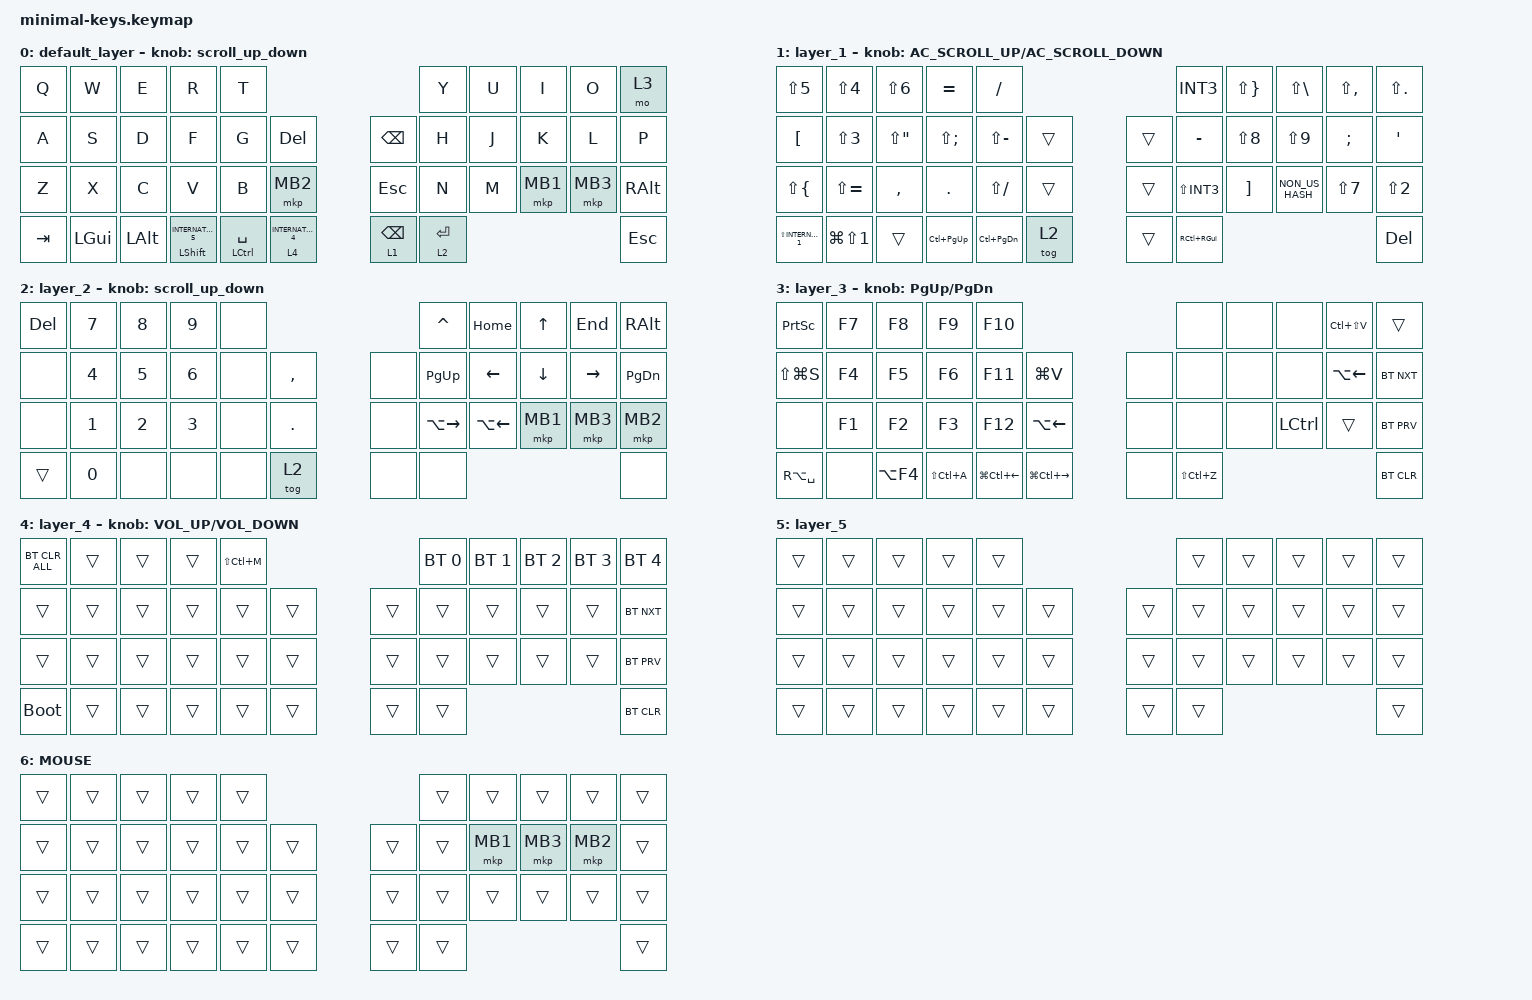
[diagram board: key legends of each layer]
#include <behaviors/runtime-sensor-rotate.dtsi>
#include <dt-bindings/zmk/data-logger.h>
#include <behaviors.dtsi>
#include <dt-bindings/zmk/bt.h>
#include <dt-bindings/zmk/keys.h>
#include <dt-bindings/zmk/pointing.h>

#undef ZMK_POINTING_DEFAULT_SCRL_VAL

#define ZMK_POINTING_DEFAULT_SCRL_VAL 100
#define MOUSE 6

&mt {
    flavor = "balanced";
    quick-tap-ms = <0>;
};

&rsr_trans {
    cw-binding = <&kp C_VOL_UP>;
    ccw-binding = <&kp C_VOL_DN>;
    tap-ms = <5>;
};

/ {
    combos { compatible = "zmk,combos"; };

    macros {
        to_layer_0: to_layer_0 {
            compatible = "zmk,behavior-macro-one-param";
            #binding-cells = <1>;
            bindings = <&to 0 &macro_param_1to1 &kp MACRO_PLACEHOLDER>;
            label = "TO_LAYER_0";
        };

        // Data logger markers: stamp the ring buffer + send F13/F14 so the
        // host-side event logger can record the press timestamp for sync.

        marker_a: marker_a {
            compatible = "zmk,behavior-macro";
            #binding-cells = <0>;
            bindings = <&dlog DLOG_MARKER_A &kp F13>;
            label = "DLOG_MARKER_A";
        };

        marker_b: marker_b {
            compatible = "zmk,behavior-macro";
            #binding-cells = <0>;
            bindings = <&dlog DLOG_MARKER_B &kp F14>;
            label = "DLOG_MARKER_B";
        };
    };

    behaviors {
        lt_rep: lt_rep {
            compatible = "zmk,behavior-hold-tap";
            label = "LAYER_TAP_REPEAT";
            #binding-cells = <2>;
            flavor = "balanced";
            tapping-term-ms = <200>;
            quick-tap-ms = <150>;
            bindings = <&mo>, <&kp>;
        };

        lt_to_layer_0: lt_to_layer_0 {
            compatible = "zmk,behavior-hold-tap";
            label = "LAYER_TAP_TO_0";
            bindings = <&mo>, <&to_layer_0>;

            #binding-cells = <2>;
            tapping-term-ms = <200>;
        };

        scroll_up_down: behavior_sensor_rotate_mouse_wheel_up_down {
            compatible = "zmk,behavior-sensor-rotate";
            #sensor-binding-cells = <0>;
            bindings = <&msc SCRL_UP>, <&msc SCRL_DOWN>;

            tap-ms = <20>;
        };

        scroll: scroll {
            compatible = "zmk,behavior-sensor-rotate";
            label = "SCROLL";
            #sensor-binding-cells = <0>;
            bindings = <&msc SCRL_DOWN>, <&msc SCRL_UP>;
        };
    };

    keymap {
        compatible = "zmk,keymap";

        default_layer {
            bindings = <
&kp Q    &kp W         &kp E         &kp R                           &kp T                                                             &kp Y        &kp U  &kp I     &kp O     &mo 3
&kp A    &kp S         &kp D         &kp F                           &kp G                   &kp DELETE               &kp BACKSPACE    &kp H        &kp J  &kp K     &kp L     &kp P
&kp Z    &kp X         &kp C         &kp V                           &kp B                   &mkp MB2                 &kp ESCAPE       &kp N        &kp M  &mkp MB1  &mkp MB3  &kp RIGHT_ALT
&kp TAB  &kp LEFT_GUI  &kp LEFT_ALT  &mt LEFT_SHIFT INTERNATIONAL_5  &mt LEFT_CONTROL SPACE  &lt 4 INTERNATIONAL_4    &lt 1 BACKSPACE  &lt 2 ENTER                             &kp ESCAPE
            >;

            sensor-bindings = <&scroll_up_down>;
        };

        layer_1 {
            bindings = <
&kp LS(N5)               &kp LS(N4)      &kp LS(N6)             &kp EQUAL          &kp SLASH                            &kp INT3      &kp LS(RIGHT_BRACE)  &kp LS(BACKSLASH)  &kp LS(COMMA)  &kp LS(PERIOD)
&kp LEFT_BRACKET         &kp LS(N3)      &kp LS(DOUBLE_QUOTES)  &kp LS(SEMICOLON)  &kp LS(MINUS)      &trans    &trans  &kp MINUS     &kp LS(N8)           &kp LS(N9)         &kp SEMICOLON  &kp SQT
&kp LS(LEFT_BRACE)       &kp LS(EQUAL)   &kp COMMA              &kp PERIOD         &kp LS(SLASH)      &trans    &trans  &kp LS(INT3)  &kp RIGHT_BRACKET    &kp NON_US_HASH    &kp LS(N7)     &kp LS(N2)
&kp LS(INTERNATIONAL_1)  &kp LG(LS(N1))  &trans                 &kp LC(PAGE_UP)    &kp LC(PAGE_DOWN)  &tog 2    &trans  &kp RC(RGUI)                                                         &kp DELETE
            >;

            sensor-bindings = <&inc_dec_kp C_AC_SCROLL_UP C_AC_SCROLL_DOWN>;
        };

        layer_2 {
            bindings = <
&kp DEL  &kp NUMBER_7  &kp NUMBER_8  &kp NUMBER_9  &none                       &kp CARET            &kp HOME            &kp UP_ARROW    &kp END          &kp RIGHT_ALT
&none    &kp NUMBER_4  &kp N5        &kp NUMBER_6  &none  &kp COMMA     &none  &kp PAGE_UP          &kp LEFT_ARROW      &kp DOWN_ARROW  &kp RIGHT_ARROW  &kp PAGE_DOWN
&none    &kp NUMBER_1  &kp NUMBER_2  &kp NUMBER_3  &none  &kp PERIOD    &none  &kp LA(RIGHT_ARROW)  &kp LA(LEFT_ARROW)  &mkp MB1        &mkp MB3         &mkp MB2
&trans   &kp NUMBER_0  &none         &none         &none  &tog 2        &none  &none                                                                     &none
            >;

            sensor-bindings = <&scroll_up_down>;
        };

        layer_3 {
            bindings = <
&kp PRINTSCREEN  &kp F7  &kp F8      &kp F9         &kp F10                                                   &none          &none  &none             &kp LC(LS(V))       &trans
&kp LS(LG(S))    &kp F4  &kp F5      &kp F6         &kp F11                 &kp LG(V)                  &none  &none          &none  &none             &kp LA(LEFT_ARROW)  &bt BT_NXT
&none            &kp F1  &kp F2      &kp F3         &kp F12                 &kp LA(LEFT_ARROW)         &none  &none          &none  &kp LEFT_CONTROL  &trans              &bt BT_PRV
&kp RA(SPACE)    &none   &kp LA(F4)  &kp LS(LC(A))  &kp LG(LC(LEFT_ARROW))  &kp LG(LC(RIGHT_ARROW))    &none  &kp LS(LC(Z))                                               &bt BT_CLR
            >;

            sensor-bindings = <&inc_dec_kp PAGE_UP PAGE_DOWN>;
        };

        layer_4 {
            bindings = <
&bt BT_CLR_ALL  &trans  &trans  &trans  &kp LS(LC(M))                    &bt BT_SEL 0  &bt BT_SEL 1  &bt BT_SEL 2  &bt BT_SEL 3  &bt BT_SEL 4
&trans          &trans  &trans  &trans  &trans         &trans    &trans  &trans        &trans        &trans        &trans        &bt BT_NXT
&trans          &trans  &trans  &trans  &trans         &trans    &trans  &trans        &trans        &trans        &trans        &bt BT_PRV
&bootloader     &trans  &trans  &trans  &trans         &trans    &trans  &trans                                                  &bt BT_CLR
            >;

            sensor-bindings = <&inc_dec_kp C_VOLUME_UP C_VOLUME_DOWN>;
        };

        layer_5 {
            bindings = <
&trans  &trans  &trans  &trans  &trans                    &trans  &trans  &trans  &trans  &trans
&trans  &trans  &trans  &trans  &trans  &trans    &trans  &trans  &trans  &trans  &trans  &trans
&trans  &trans  &trans  &trans  &trans  &trans    &trans  &trans  &trans  &trans  &trans  &trans
&trans  &trans  &trans  &trans  &trans  &trans    &trans  &trans                          &trans
            >;
        };

        MOUSE {
            bindings = <
&trans  &trans  &trans  &trans  &trans                    &trans  &trans    &trans    &trans    &trans
&trans  &trans  &trans  &trans  &trans  &trans    &trans  &trans  &mkp MB1  &mkp MB3  &mkp MB2  &trans
&trans  &trans  &trans  &trans  &trans  &trans    &trans  &trans  &trans    &trans    &trans    &trans
&trans  &trans  &trans  &trans  &trans  &trans    &trans  &trans                                &trans
            >;
        };
    };
};
